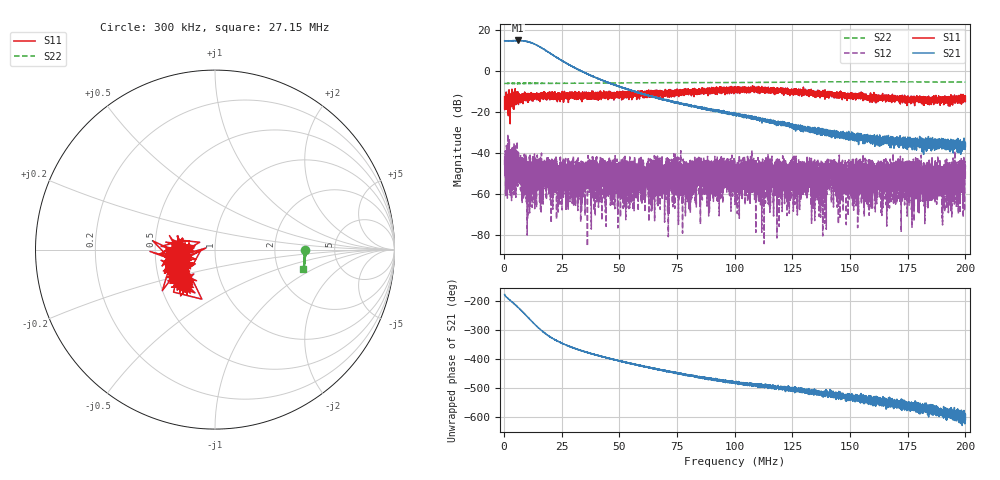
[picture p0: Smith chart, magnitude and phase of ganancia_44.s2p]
# Hz S DB R 50
! CMT, M5065, 19127446, 24.2.4/2
! Date: 11/8/2024 3:15:19 PM
! Data: Format (Calibration Info)
! Freq	S11:dB/Ang(F2)	S21:dB/Ang(F2)	S12:dB/Ang(F2)	S22:dB/Ang(F2)
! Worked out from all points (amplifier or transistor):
!   9000 points, 300 kHz to 200 MHz, reference 50 ohm
!   highest |S21| = 15.0 dB at 6.114 MHz (marker M1)
!   |S21| within 3 dB of that: start of sweep to 15.36 MHz
!   unconditionally stable (mu >= 1): start of sweep to end of sweep
!   at 33.59 MHz: K = 66.62, MAG = 1.6 dB, |S12| = -45.6 dB
!   at 100.2 MHz: K = 838.43, MAG = -19.1 dB, |S12| = -47.4 dB
!   at 200 MHz: K = 4151.68, MAG = -33.5 dB, |S12| = -46.6 dB
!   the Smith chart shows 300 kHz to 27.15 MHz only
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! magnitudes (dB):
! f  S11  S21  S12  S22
! 300 kHz  -12.5  14.8  -46.0  -6.0
! 6.114 MHz  -12.1  15.0  -40.6  -5.9
! 10.66 MHz  -11.8  14.3  -48.9  -6.0
! 18.1 MHz  -12.1  10.1  -50.8  -6.0
! 33.59 MHz  -12.0  0.0  -45.6  -5.9
! 42.71 MHz  -10.8  -4.5  -53.2  -5.8
! 51.41 MHz  -11.4  -8.1  -49.4  -5.7
! 59.26 MHz  -11.3  -10.9  -48.4  -5.7
! 66.87 MHz  -11.6  -13.2  -50.5  -5.7
! 100.2 MHz  -9.0  -21.1  -47.4  -5.6
! 133.4 MHz  -10.4  -28.2  -49.7  -5.3
! 138.1 MHz  -10.7  -30.7  -45.1  -5.2
! 141.2 MHz  -10.9  -30.7  -45.7  -5.2
! 144.7 MHz  -12.1  -32.1  -48.6  -5.2
! 154.9 MHz  -11.5  -30.7  -53.0  -5.2
! 166.7 MHz  -14.0  -33.7  -47.6  -5.2
! 179.9 MHz  -12.6  -34.3  -53.3  -5.3
! 183 MHz  -13.3  -34.0  -48.1  -5.3
! 184.8 MHz  -14.4  -34.3  -51.5  -5.3
! 192.9 MHz  -15.0  -35.8  -45.0  -5.3
! 198.4 MHz  -14.9  -35.4  -51.8  -5.4
! 200 MHz  -12.4  -35.3  -46.6  -5.4
